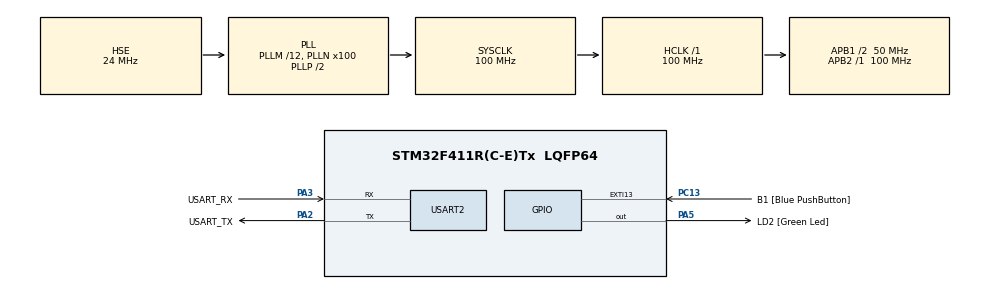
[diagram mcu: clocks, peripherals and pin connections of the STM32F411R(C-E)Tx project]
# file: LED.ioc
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Mcu.Family=STM32F4
Mcu.Name=STM32F411R(C-E)Tx
Mcu.Package=LQFP64
NVIC.PriorityGroup=NVIC_PRIORITYGROUP_0
PA13.GPIO_Label=TMS
PA13.Mode=Serial_Wire
PA13.Signal=SYS_JTMS-SWDIO
PA14.GPIO_Label=TCK
PA14.Mode=Serial_Wire
PA14.Signal=SYS_JTCK-SWCLK
PA2.GPIO_Label=USART_TX
PA2.Mode=Asynchronous
PA2.Signal=USART2_TX
PA3.GPIO_Label=USART_RX
PA3.Mode=Asynchronous
PA3.Signal=USART2_RX
PA5.GPIO_Label=LD2 [Green Led]
PA5.GPIO_PuPd=GPIO_PULLDOWN
PA5.Signal=GPIO_Output
PB3.GPIO_Label=SWO
PB3.Signal=SYS_JTDO-SWO
PC13-ANTI_TAMP.GPIO_Label=B1 [Blue PushButton]
PC13-ANTI_TAMP.GPIO_ModeDefaultEXTI=GPIO_MODE_IT_FALLING
PC13-ANTI_TAMP.GPIO_PuPd=GPIO_PULLUP
PC13-ANTI_TAMP.Signal=GPXTI13
PC14-OSC32_IN.Mode=LSE-External-Oscillator
PC14-OSC32_IN.Signal=RCC_OSC32_IN
PC15-OSC32_OUT.Mode=LSE-External-Oscillator
PC15-OSC32_OUT.Signal=RCC_OSC32_OUT
PH0\ -\ OSC_IN.Mode=HSE-External-Oscillator
PH0\ -\ OSC_IN.Signal=RCC_OSC_IN
PH1\ -\ OSC_OUT.Mode=HSE-External-Oscillator
PH1\ -\ OSC_OUT.Signal=RCC_OSC_OUT
ProjectManager.HeapSize=0x200
ProjectManager.StackSize=0x400
ProjectManager.TargetToolchain=MDK-ARM V5.32
RCC.48MHZClocksFreq_Value=50000000
RCC.AHBFreq_Value=100000000
RCC.APB1CLKDivider=RCC_HCLK_DIV2
RCC.APB1Freq_Value=50000000
RCC.APB1TimFreq_Value=100000000
RCC.APB2Freq_Value=100000000
RCC.APB2TimFreq_Value=100000000
RCC.CortexFreq_Value=100000000
RCC.FLatency-AdvancedSettings=FLASH_LATENCY_3
RCC.HCLKFreq_Value=100000000
RCC.HSE_VALUE=24000000
RCC.HSI_VALUE=16000000
RCC.PLLM=12
RCC.PLLN=100
RCC.PLLSourceVirtual=RCC_PLLSOURCE_HSE
RCC.SYSCLKFreq_VALUE=100000000
RCC.SYSCLKSource=RCC_SYSCLKSOURCE_PLLCLK
RCC.VCOOutputFreq_Value=200000000
USART2.VirtualMode=VM_ASYNC
board=NUCLEO-F411RE

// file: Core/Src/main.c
/* USER CODE BEGIN Header */
/**
  ******************************************************************************
  * @file           : main.c
  * @brief          : Main program body
  ******************************************************************************
  * @attention
  *
  * Copyright (c) 2023 STMicroelectronics.
  * All rights reserved.
  *
  * This software is licensed under terms that can be found in the LICENSE file
  * in the root directory of this software component.
  * If no LICENSE file comes with this software, it is provided AS-IS.
  *
  ******************************************************************************
  */
/* USER CODE END Header */
#include "main.h"
#include "usart.h"
#include "gpio.h"

/* USER CODE BEGIN PV */
uint16_t led_cnt = 0;

/* USER CODE END PV */

void SystemClock_Config(void);

int main(void)
{

  /* MCU Configuration--------------------------------------------------------*/

  /* Reset of all peripherals, Initializes the Flash interface and the Systick. */
  HAL_Init();

  /* Configure the system clock */
  SystemClock_Config();

  /* Initialize all configured peripherals */
  MX_GPIO_Init();
  MX_USART2_UART_Init();
  /* USER CODE BEGIN 2 */
  HAL_GPIO_WritePin(LD2_GPIO_Port, LD2_Pin, GPIO_PIN_SET);
  HAL_Delay(1000);
  led_cnt = 0;

  /* USER CODE END 2 */

  /* Infinite loop */
  /* USER CODE BEGIN WHILE */
  while (1)
  {
	  if(led_cnt < 5)
	  {
		  HAL_GPIO_WritePin(LD2_GPIO_Port, LD2_Pin, GPIO_PIN_SET);
		  HAL_Delay(100);
		  HAL_GPIO_WritePin(LD2_GPIO_Port, LD2_Pin, GPIO_PIN_RESET);
		  HAL_Delay(100);
		  led_cnt++;
	  }
	  else if(led_cnt >= 5 && led_cnt < 10)
	  {
		  HAL_GPIO_WritePin(LD2_GPIO_Port, LD2_Pin, GPIO_PIN_SET);
		  HAL_Delay(500);
		  HAL_GPIO_WritePin(LD2_GPIO_Port, LD2_Pin, GPIO_PIN_RESET);
		  HAL_Delay(500);
		  led_cnt++;
	  }
	  else if(led_cnt >= 10)
	  {
		  led_cnt = 0;
	  }
    /* USER CODE END WHILE */

  }
}

void SystemClock_Config(void)
{
  RCC_OscInitTypeDef RCC_OscInitStruct = {0};
  RCC_ClkInitTypeDef RCC_ClkInitStruct = {0};

  /** Configure the main internal regulator output voltage
  */
  __HAL_RCC_PWR_CLK_ENABLE();
  __HAL_PWR_VOLTAGESCALING_CONFIG(PWR_REGULATOR_VOLTAGE_SCALE1);

  /** Initializes the RCC Oscillators according to the specified parameters
  * in the RCC_OscInitTypeDef structure.
  */
  RCC_OscInitStruct.OscillatorType = RCC_OSCILLATORTYPE_HSE;
  RCC_OscInitStruct.HSEState = RCC_HSE_ON;
  RCC_OscInitStruct.PLL.PLLState = RCC_PLL_ON;
  RCC_OscInitStruct.PLL.PLLSource = RCC_PLLSOURCE_HSE;
  RCC_OscInitStruct.PLL.PLLM = 12;
  RCC_OscInitStruct.PLL.PLLN = 100;
  RCC_OscInitStruct.PLL.PLLP = RCC_PLLP_DIV2;
  RCC_OscInitStruct.PLL.PLLQ = 4;
  if (HAL_RCC_OscConfig(&RCC_OscInitStruct) != HAL_OK)
  {
    Error_Handler();
  }

  /** Initializes the CPU, AHB and APB buses clocks
  */
  RCC_ClkInitStruct.ClockType = RCC_CLOCKTYPE_HCLK|RCC_CLOCKTYPE_SYSCLK
                              |RCC_CLOCKTYPE_PCLK1|RCC_CLOCKTYPE_PCLK2;
  RCC_ClkInitStruct.SYSCLKSource = RCC_SYSCLKSOURCE_PLLCLK;
  RCC_ClkInitStruct.AHBCLKDivider = RCC_SYSCLK_DIV1;
  RCC_ClkInitStruct.APB1CLKDivider = RCC_HCLK_DIV2;
  RCC_ClkInitStruct.APB2CLKDivider = RCC_HCLK_DIV1;

  if (HAL_RCC_ClockConfig(&RCC_ClkInitStruct, FLASH_LATENCY_3) != HAL_OK)
  {
    Error_Handler();
  }
}

void Error_Handler(void)
{
  __disable_irq();
  while (1)
  {
  }
}
